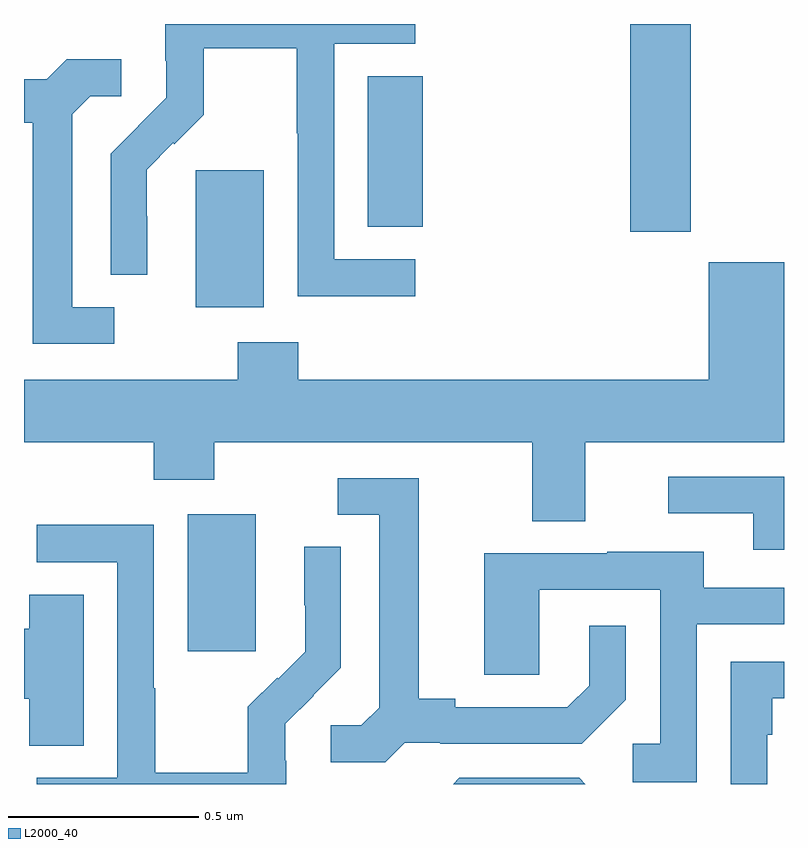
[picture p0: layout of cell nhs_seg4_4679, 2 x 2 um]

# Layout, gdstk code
import gdstk
lib = gdstk.Library(unit=1e-6, precision=1e-09)
def R(c, l, rs):  # rectangles x0, y0, x1, y1
    for r in rs: c.add(gdstk.rectangle(r[:2], r[2:], *l))
def P(c, l, *ps):  # polygons
    for p in ps: c.add(gdstk.Polygon(p, *l))
L2000_40 = (2000, 40)

nhs_seg4_4679 = lib.new_cell('nhs_seg4_4679')
R(nhs_seg4_4679, L2000_40, [(168.431,816.249,168.61,816.61), (168.452,817.154,168.631,817.515), (169.595,817.353,169.755,817.9), (168.905,817.366,169.049,817.763)])
P(nhs_seg4_4679, L2000_40, [(169.03,817.281),(168.816,817.281),(168.816,817.848),(169.03,817.848),(169.03,817.9),(168.372,817.9),(168.372,817.803),(168.374,817.803),(168.374,817.706),(168.3,817.632),(168.301,817.631),(168.228,817.558),(168.228,817.24),(168.324,817.24),(168.324,817.394),(168.323,817.394),(168.323,817.517),(168.393,817.587),(168.396,817.584),(168.473,817.661),(168.473,817.836),(168.718,817.836),(168.718,817.612),(168.72,817.612),(168.72,817.183),(169.03,817.183)],
  [(168.238,817.155),(168.127,817.155),(168.127,817.663),(168.174,817.71),(168.256,817.71),(168.256,817.807),(168.112,817.807),(168.06,817.755),(168,817.755),(168,817.64),(168.023,817.64),(168.023,817.059),(168.238,817.059)],
  [(169.477,816.8),(170,816.8),(170,817.273),(169.802,817.273),(169.802,816.964),(168.722,816.964),(168.722,817.063),(168.562,817.063),(168.562,816.964),(168,816.964),(168,816.8),(168.341,816.8),(168.341,816.701),(168.501,816.701),(168.501,816.8),(169.337,816.8),(169.337,816.592),(169.477,816.592)],
  [(170,816.708),(169.695,816.708),(169.695,816.612),(169.919,816.612),(169.919,816.516),(170,816.516)],
  [(169.002,816.009),(169.096,816.009),(169.096,816.006),(169.468,816.006),(169.584,816.122),(169.584,816.316),(169.487,816.316),(169.487,816.159),(169.43,816.102),(169.135,816.102),(169.135,816.125),(169.039,816.125),(169.039,816.705),(168.825,816.705),(168.825,816.609),(168.935,816.609),(168.935,816.101),(168.888,816.054),(168.807,816.054),(168.807,815.957),(168.95,815.957)],
  [(168.69,815.961),(168.688,815.961),(168.688,816.058),(168.762,816.132),(168.761,816.133),(168.834,816.206),(168.834,816.524),(168.738,816.524),(168.738,816.37),(168.74,816.37),(168.74,816.248),(168.669,816.177),(168.666,816.18),(168.589,816.103),(168.589,815.929),(168.345,815.929),(168.345,816.152),(168.342,816.152),(168.342,816.582),(168.033,816.582),(168.033,816.483),(168.246,816.483),(168.246,815.916),(168.033,815.916),(168.033,815.9),(168.69,815.9)],
  [(169.77,816.321),(170,816.321),(170,816.417),(169.789,816.417),(169.789,816.511),(169.535,816.511),(169.535,816.507),(169.211,816.507),(169.211,816.187),(169.356,816.187),(169.356,816.411),(169.674,816.411),(169.674,816.006),(169.602,816.006),(169.602,815.905),(169.77,815.905)],
  [(168.157,816.398),(168.014,816.398),(168.014,816.308),(168,816.308),(168,816.125),(168.014,816.125),(168.014,816.001),(168.157,816.001)],
  [(169.956,816.029),(169.969,816.029),(169.969,816.126),(170,816.126),(170,816.222),(169.86,816.222),(169.86,815.9),(169.956,815.9)],
  [(169.461,815.916),(169.146,815.916),(169.13,815.9),(169.477,815.9)])

lib.write_gds('nhs_seg4_4679.gds')
